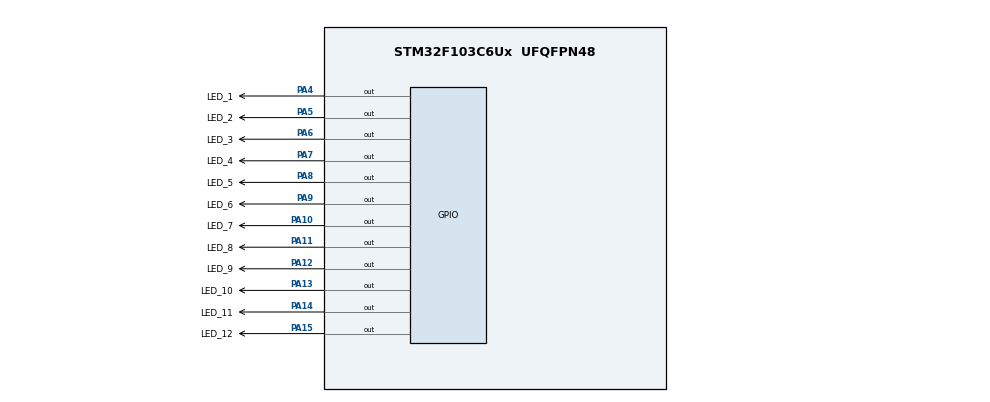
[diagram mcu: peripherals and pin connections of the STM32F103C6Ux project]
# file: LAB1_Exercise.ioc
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Mcu.Family=STM32F1
Mcu.Name=STM32F103C6Ux
Mcu.Package=UFQFPN48
NVIC.PriorityGroup=NVIC_PRIORITYGROUP_4
PA10.GPIO_Label=LED_7
PA10.Signal=GPIO_Output
PA11.GPIO_Label=LED_8
PA11.Signal=GPIO_Output
PA12.GPIO_Label=LED_9
PA12.Signal=GPIO_Output
PA13.GPIO_Label=LED_10
PA13.Signal=GPIO_Output
PA14.GPIO_Label=LED_11
PA14.Signal=GPIO_Output
PA15.GPIO_Label=LED_12
PA15.Signal=GPIO_Output
PA4.GPIO_Label=LED_1
PA4.Signal=GPIO_Output
PA5.GPIO_Label=LED_2
PA5.Signal=GPIO_Output
PA6.GPIO_Label=LED_3
PA6.Signal=GPIO_Output
PA7.GPIO_Label=LED_4
PA7.Signal=GPIO_Output
PA8.GPIO_Label=LED_5
PA8.Signal=GPIO_Output
PA9.GPIO_Label=LED_6
PA9.Signal=GPIO_Output
ProjectManager.HeapSize=0x200
ProjectManager.StackSize=0x400
ProjectManager.TargetToolchain=STM32CubeIDE
RCC.APB1Freq_Value=8000000
RCC.APB2Freq_Value=8000000
VP_SYS_VS_ND.Mode=No_Debug
board=custom

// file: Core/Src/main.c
/* USER CODE BEGIN Header */
/**
  ******************************************************************************
  * @file           : main.c
  * @brief          : Main program body
  ******************************************************************************
  * @attention
  *
  * <h2><center>&copy; Copyright (c) 2024 STMicroelectronics.
  * All rights reserved.</center></h2>
  *
  * This software component is licensed by ST under BSD 3-Clause license,
  * the "License"; You may not use this file except in compliance with the
  * License. You may obtain a copy of the License at:
  *                        opensource.org/licenses/BSD-3-Clause
  *
  ******************************************************************************
  */
/* USER CODE END Header */
#include "main.h"

void SystemClock_Config(void);
static void MX_GPIO_Init(void);

int main(void)
{

  /* MCU Configuration--------------------------------------------------------*/

  /* Reset of all peripherals, Initializes the Flash interface and the Systick. */
  HAL_Init();

  /* Configure the system clock */
  SystemClock_Config();

  /* Initialize all configured peripherals */
  MX_GPIO_Init();

  /* Infinite loop */
  /* USER CODE BEGIN WHILE */
  void setNumberOnClock(int num){
	  switch(num){
	  case 1:
		  HAL_GPIO_WritePin(LED_1_GPIO_Port, LED_1_Pin, SET);
		  break;
	  case 2:
		  HAL_GPIO_WritePin(LED_2_GPIO_Port, LED_2_Pin, SET);
		  break;
	  case 3:
		  HAL_GPIO_WritePin(LED_3_GPIO_Port, LED_3_Pin, SET);
		  break;
	  case 4:
		  HAL_GPIO_WritePin(LED_4_GPIO_Port, LED_4_Pin, SET);
		  break;
	  case 5:
		  HAL_GPIO_WritePin(LED_5_GPIO_Port, LED_5_Pin, SET);
		  break;
	  case 6:
		  HAL_GPIO_WritePin(LED_6_GPIO_Port, LED_6_Pin, SET);
		  break;
	  case 7:
		  HAL_GPIO_WritePin(LED_7_GPIO_Port, LED_7_Pin, SET);
		  break;
	  case 8:
		  HAL_GPIO_WritePin(LED_8_GPIO_Port, LED_8_Pin, SET);
		  break;
	  case 9:
		  HAL_GPIO_WritePin(LED_9_GPIO_Port, LED_9_Pin, SET);
		  break;
	  case 10:
		  HAL_GPIO_WritePin(LED_10_GPIO_Port, LED_10_Pin, SET);
		  break;
	  case 11:
		  HAL_GPIO_WritePin(LED_11_GPIO_Port, LED_11_Pin, SET);
		  break;
	  case 0:
		  HAL_GPIO_WritePin(LED_12_GPIO_Port, LED_12_Pin, SET);
		  break;
	  default:
		  HAL_GPIO_WritePin(GPIOA, GPIO_PIN_All , RESET);
	  }
  }
  void clearNumberOnClock(int num){
	  switch(num){
	  case 1:
		  HAL_GPIO_WritePin(LED_1_GPIO_Port, LED_1_Pin, RESET);
		  break;
	  case 2:
		  HAL_GPIO_WritePin(LED_2_GPIO_Port, LED_2_Pin, RESET);
		  break;
	  case 3:
		  HAL_GPIO_WritePin(LED_3_GPIO_Port, LED_3_Pin, RESET);
		  break;
	  case 4:
		  HAL_GPIO_WritePin(LED_4_GPIO_Port, LED_4_Pin, RESET);
		  break;
	  case 5:
		  HAL_GPIO_WritePin(LED_5_GPIO_Port, LED_5_Pin, RESET);
		  break;
	  case 6:
		  HAL_GPIO_WritePin(LED_6_GPIO_Port, LED_6_Pin, RESET);
		  break;
	  case 7:
		  HAL_GPIO_WritePin(LED_7_GPIO_Port, LED_7_Pin, RESET);
		  break;
	  case 8:
		  HAL_GPIO_WritePin(LED_8_GPIO_Port, LED_8_Pin, RESET);
		  break;
	  case 9:
		  HAL_GPIO_WritePin(LED_9_GPIO_Port, LED_9_Pin, RESET);
		  break;
	  case 10:
		  HAL_GPIO_WritePin(LED_10_GPIO_Port, LED_10_Pin, RESET);
		  break;
	  case 11:
		  HAL_GPIO_WritePin(LED_11_GPIO_Port, LED_11_Pin, RESET);
		  break;
	  case 0:
		  HAL_GPIO_WritePin(LED_12_GPIO_Port, LED_12_Pin, RESET);
		  break;
	  default:
		  HAL_GPIO_WritePin(GPIOA, GPIO_PIN_All , RESET);
	  }
  }
  int hour=0;
  int minute=0;
  int second=0;
  int h = -1;
  int m = -1;
  int s = -1;
  while (1)
  {
    /* USER CODE END WHILE */

      if (s >= 0) {
          clearNumberOnClock(s);
      }
      if (m >= 0) {
          clearNumberOnClock(m);
      }
      if (h >= 0) {
          clearNumberOnClock(h);
      }
      setNumberOnClock(second);
      setNumberOnClock(minute);
      setNumberOnClock(hour);

      s = second;
      m = minute;
      h = hour;

      second++;
      if (second >= 12) {
          second = 0;
          minute++;
      }

      if (minute >= 12) {
          minute = 0;
          hour++;
      }

      if (hour >= 12) {

          hour = 0;
      }
	  HAL_Delay(5000);
  }
}

void SystemClock_Config(void)
{
  RCC_OscInitTypeDef RCC_OscInitStruct = {0};
  RCC_ClkInitTypeDef RCC_ClkInitStruct = {0};

  /** Initializes the RCC Oscillators according to the specified parameters
  * in the RCC_OscInitTypeDef structure.
  */
  RCC_OscInitStruct.OscillatorType = RCC_OSCILLATORTYPE_HSI;
  RCC_OscInitStruct.HSIState = RCC_HSI_ON;
  RCC_OscInitStruct.HSICalibrationValue = RCC_HSICALIBRATION_DEFAULT;
  RCC_OscInitStruct.PLL.PLLState = RCC_PLL_NONE;
  if (HAL_RCC_OscConfig(&RCC_OscInitStruct) != HAL_OK)
  {
    Error_Handler();
  }
  /** Initializes the CPU, AHB and APB buses clocks
  */
  RCC_ClkInitStruct.ClockType = RCC_CLOCKTYPE_HCLK|RCC_CLOCKTYPE_SYSCLK
                              |RCC_CLOCKTYPE_PCLK1|RCC_CLOCKTYPE_PCLK2;
  RCC_ClkInitStruct.SYSCLKSource = RCC_SYSCLKSOURCE_HSI;
  RCC_ClkInitStruct.AHBCLKDivider = RCC_SYSCLK_DIV1;
  RCC_ClkInitStruct.APB1CLKDivider = RCC_HCLK_DIV1;
  RCC_ClkInitStruct.APB2CLKDivider = RCC_HCLK_DIV1;

  if (HAL_RCC_ClockConfig(&RCC_ClkInitStruct, FLASH_LATENCY_0) != HAL_OK)
  {
    Error_Handler();
  }
}

static void MX_GPIO_Init(void)
{
  GPIO_InitTypeDef GPIO_InitStruct = {0};

  /* GPIO Ports Clock Enable */
  __HAL_RCC_GPIOA_CLK_ENABLE();

  /*Configure GPIO pin Output Level */
  HAL_GPIO_WritePin(GPIOA, LED_1_Pin|LED_2_Pin|LED_3_Pin|LED_4_Pin
                          |LED_5_Pin|LED_6_Pin|LED_7_Pin|LED_8_Pin
                          |LED_9_Pin|LED_10_Pin|LED_11_Pin|LED_12_Pin, GPIO_PIN_RESET);

  /*Configure GPIO pins : LED_1_Pin LED_2_Pin LED_3_Pin LED_4_Pin
                           LED_5_Pin LED_6_Pin LED_7_Pin LED_8_Pin
                           LED_9_Pin LED_10_Pin LED_11_Pin LED_12_Pin */
  GPIO_InitStruct.Pin = LED_1_Pin|LED_2_Pin|LED_3_Pin|LED_4_Pin
                          |LED_5_Pin|LED_6_Pin|LED_7_Pin|LED_8_Pin
                          |LED_9_Pin|LED_10_Pin|LED_11_Pin|LED_12_Pin;
  GPIO_InitStruct.Mode = GPIO_MODE_OUTPUT_PP;
  GPIO_InitStruct.Pull = GPIO_NOPULL;
  GPIO_InitStruct.Speed = GPIO_SPEED_FREQ_LOW;
  HAL_GPIO_Init(GPIOA, &GPIO_InitStruct);

}

void Error_Handler(void)
{
  __disable_irq();
  while (1)
  {
  }
}

/************************ (C) COPYRIGHT STMicroelectronics *****END OF FILE****/
